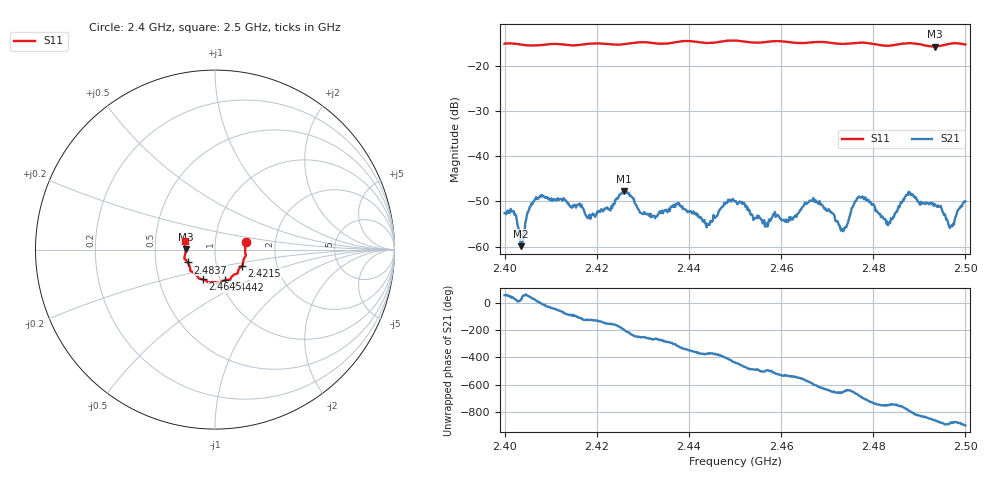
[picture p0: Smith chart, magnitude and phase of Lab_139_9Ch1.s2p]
# Hz S RI R 50
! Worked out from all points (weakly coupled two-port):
!   601 points, 2.4 GHz to 2.5 GHz, reference 50 ohm
!   highest |S21| = -47.69 dB at 2.4258 GHz (marker M1); lowest = -59.9 dB at 2.4035 GHz (marker M2)
!   lowest |S11| = -15.7 dB at 2.4933 GHz (marker M3), VSWR 1.39, Z = 35.9 + j0.0979 ohm
!   |S11| at or under -10 dB: start of sweep to end of sweep
!   S12 and S22 are empty: the file has one direction only
!   S11 on the Smith chart (normalised r, x): 2.4 GHz: 1.41, +0.12; 2.4215 GHz: 1.33, -0.25; 2.4442 GHz: 1.05, -0.37; 2.4645 GHz: 0.83, -0.29; 2.4837 GHz: 0.73, -0.11; 2.5 GHz: 0.71, +0.07
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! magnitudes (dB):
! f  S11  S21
! 2.4 GHz  -15.1  -52.5
! 2.402 GHz  -15.1  -52.1
! 2.4035 GHz  -15.3  -59.9
! 2.4073 GHz  -15.5  -49.3
! 2.4167 GHz  -15.3  -50.7
! 2.4215 GHz  -15.1  -52.0
! 2.4258 GHz  -15.2  -47.7
! 2.4333 GHz  -15.1  -52.8
! 2.4377 GHz  -14.7  -50.6
! 2.4442 GHz  -15.0  -55.1
! 2.45 GHz  -14.4  -50.0
! 2.4567 GHz  -14.7  -55.5
! 2.4645 GHz  -15.0  -51.4
! 2.4667 GHz  -14.8  -49.9
! 2.4733 GHz  -15.2  -56.4
! 2.4772 GHz  -14.9  -49.1
! 2.4833 GHz  -15.6  -55.0
! 2.4837 GHz  -15.5  -54.8
! 2.4875 GHz  -15.0  -48.6
! 2.4933 GHz  -15.7  -50.6
! 2.497 GHz  -15.0  -55.3
! 2.5 GHz  -15.3  -50.0
